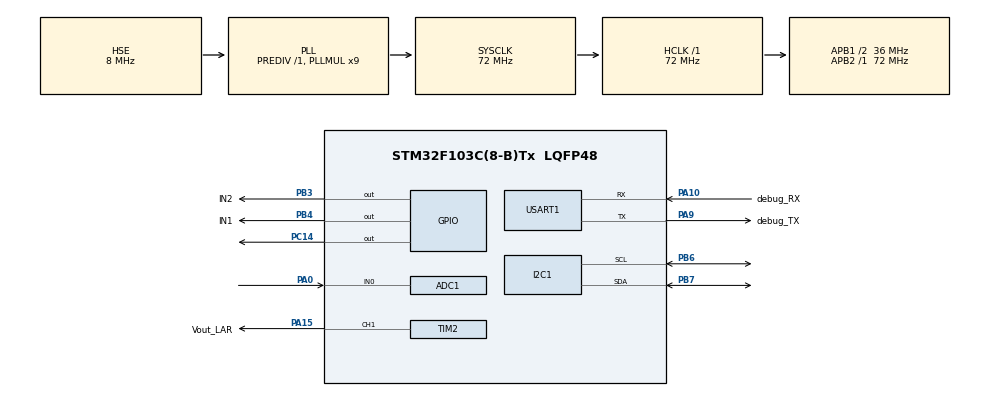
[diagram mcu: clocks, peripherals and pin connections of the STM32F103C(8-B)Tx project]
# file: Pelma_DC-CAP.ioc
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ADC1.Channel-0\#ChannelRegularConversion=ADC_CHANNEL_0
ADC1.ContinuousConvMode=ENABLE
ADC1.NbrOfConversionFlag=1
ADC1.Rank-0\#ChannelRegularConversion=1
ADC1.SamplingTime-0\#ChannelRegularConversion=ADC_SAMPLETIME_239CYCLES_5
ADC1.master=1
Mcu.Family=STM32F1
Mcu.Name=STM32F103C(8-B)Tx
Mcu.Package=LQFP48
NVIC.PriorityGroup=NVIC_PRIORITYGROUP_4
NVIC.TIM2_IRQn=true\:0\:0\:false\:false\:true\:true\:true\:true
NVIC.TIM3_IRQn=true\:0\:0\:false\:false\:true\:true\:true\:true
PA0-WKUP.Signal=ADCx_IN0
PA10.GPIO_Label=debug_RX
PA10.Mode=Asynchronous
PA10.Signal=USART1_RX
PA13.Mode=Serial_Wire
PA13.Signal=SYS_JTMS-SWDIO
PA14.Mode=Serial_Wire
PA14.Signal=SYS_JTCK-SWCLK
PA15.GPIO_Label=Vout_LAR
PA15.GPIO_Speed=GPIO_SPEED_FREQ_MEDIUM
PA15.Signal=S_TIM2_CH1_ETR
PA9.GPIO_Label=debug_TX
PA9.Mode=Asynchronous
PA9.Signal=USART1_TX
PB3.GPIO_Label=IN2
PB3.GPIO_Speed=GPIO_SPEED_FREQ_HIGH
PB3.Signal=GPIO_Output
PB4.GPIO_Label=IN1
PB4.GPIO_Speed=GPIO_SPEED_FREQ_HIGH
PB4.Signal=GPIO_Output
PB6.Mode=I2C
PB6.Signal=I2C1_SCL
PB7.Mode=I2C
PB7.Signal=I2C1_SDA
PC14-OSC32_IN.Signal=GPIO_Output
PD0-OSC_IN.Mode=HSE-External-Oscillator
PD0-OSC_IN.Signal=RCC_OSC_IN
PD1-OSC_OUT.Mode=HSE-External-Oscillator
PD1-OSC_OUT.Signal=RCC_OSC_OUT
ProjectManager.HeapSize=0x200
ProjectManager.StackSize=0x400
ProjectManager.TargetToolchain=CMake
RCC.ADCPresc=RCC_ADCPCLK2_DIV6
RCC.AHBFreq_Value=72000000
RCC.APB1CLKDivider=RCC_HCLK_DIV2
RCC.APB1Freq_Value=36000000
RCC.APB1TimFreq_Value=72000000
RCC.APB2Freq_Value=72000000
RCC.APB2TimFreq_Value=72000000
RCC.HCLKFreq_Value=72000000
RCC.PLLMUL=RCC_PLL_MUL9
RCC.PLLSourceVirtual=RCC_PLLSOURCE_HSE
RCC.SYSCLKFreq_VALUE=72000000
RCC.SYSCLKSource=RCC_SYSCLKSOURCE_PLLCLK
RCC.USBFreq_Value=72000000
SH.ADCx_IN0.0=ADC1_IN0,IN0
SH.S_TIM2_CH1_ETR.0=TIM2_CH1,PWM Generation1 CH1
TIM2.Channel-PWM\ Generation1\ CH1=TIM_CHANNEL_1
TIM2.Period=99
TIM2.Prescaler=71
TIM2.Pulse-PWM\ Generation1\ CH1=99
TIM3.Period=83
TIM3.Prescaler=7199
USART1.VirtualMode=VM_ASYNC
VP_TIM2_VS_ClockSourceINT.Mode=Internal
VP_TIM3_VS_ClockSourceINT.Mode=Internal
board=custom

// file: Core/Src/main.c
/* USER CODE BEGIN Header */
/**
  ******************************************************************************
  * @file           : main.c
  * @brief          : Main program body
  ******************************************************************************
  * @attention
  *
  * Copyright (c) 2025 STMicroelectronics.
  * All rights reserved.
  *
  * This software is licensed under terms that can be found in the LICENSE file
  * in the root directory of this software component.
  * If no LICENSE file comes with this software, it is provided AS-IS.
  *
  ******************************************************************************
  */
/* USER CODE END Header */
#include "main.h"
#include "adc.h"
#include "i2c.h"
#include "stm32f1xx_hal_adc.h"
#include "tim.h"
#include "usart.h"
#include "gpio.h"

/* USER CODE BEGIN Includes */

/* 引入 FDC2214 驱动接口与串口调试封装（用于 fdc_read_result_raw, fdc_calibrate_baseline, fdc_debug_print） */
#include "fdc2214.h"
#include "usart_debug.h"
/* TIM2/3 控制封装 */
#include "tim_control.h"
/* USER CODE END Includes */

/* USER CODE BEGIN PV */

/* TIM3 中断请求翻转标志 */
// static volatile uint8_t tim3_toggle_flag = 0;

/* 基线数组（每通道），在启动时可以通过 fdc_calibrate_baseline 填充或动态更新 */
// static uint32_t baseline[4] = {0, 0, 0, 0};
/* USER CODE END PV */

void SystemClock_Config(void);

int main(void)
{

  /* MCU Configuration--------------------------------------------------------*/

  /* Reset of all peripherals, Initializes the Flash interface and the Systick. */
  HAL_Init();

  /* Configure the system clock */
  SystemClock_Config();

  /* Initialize all configured peripherals */
  MX_GPIO_Init();
  MX_I2C1_Init();
  MX_USART1_UART_Init();
  MX_TIM2_Init();
  MX_TIM3_Init();
  MX_ADC1_Init();
  /* USER CODE BEGIN 2 */

  /* 1. 初始化串口接收以接收命令 */
  fdc_debug_init();  /* 这会启动串口中断接收 */

  // /* 2. 启动TIM2 PWM输出（占空比可通过串口设置）*/
  // TIM2_Control_Init();
  // TIM2_PWM_SetDutyPercent(90);  /* 设置默认占空比50% */                //改接收再振动################

  // /* 3. 启动TIM3并设置默认频率（20Hz）*/
  // HAL_TIM_Base_Start_IT(&htim3);  /* 启动定时器中断 */
  // TIM3_SetSquareFreqHz(100);       /* 设置默认频率 */

  fdc_debug_print("PWMPercent FreqHz");
  /* FDC2214 初始化（如果需要）*/
  {
    int r = fdc_init();
    if (r != FDC_OK) {
      /* 使用限频打印，避免初始化阶段反复打印导致串口占满 */
      fdc_debug_print_limited("fdc_init failed: %s (%d)\r\n", fdc_err_str(r), r);
    } else {
      fdc_debug_print("fdc_init OK\r\n");
    }
  }

  HAL_ADC_Start(&hadc1); //启动ADC1

  // /* 启动时对 4 个通道做基线校准（将结果写入上方定义的 baseline[] 数组）
  //  * 说明：如果不做校准，baseline 默认为 0（在头部已初始化为 0），
  //  *      那么 delta = raw - baseline 会等于 raw，本质上没有去偏移效果。
  //  * 这里使用  次采样取平均，必要时可调整 samples 的值。
  //  */
  // {
  //   const uint8_t samples = 100; /* 建议 8..64，根据噪声与时间权衡 */
  //   for (int ch = 0; ch < 4; ++ch) {
  //     int rc = fdc_calibrate_baseline((fdc_channel_t)ch, &baseline[ch], samples);
  //     if (rc != FDC_OK) {
  //       /* 校准失败时限频打印错误，避免串口刷屏 */
  //       fdc_debug_print_limited("calibrate CH%d failed: %s (%d)\r\n", ch, fdc_err_str(rc), rc);
  //     } else {
  //       /* 成功打印基线值一次（调试用），随后主循环会使用 baseline[] */
  //       fdc_debug_print("calibrate CH%d baseline=%lu\r\n", ch, (unsigned long)baseline[ch]);
  //     }
  //     /* 小延时，给总线和传感器一点恢复时间 */
  //     HAL_Delay(50);
  //   }
  // }

  /* USER CODE END 2 */

  /* Infinite loop */
  while (1)
  {

    /* USER CODE BEGIN 3 */

  // /* 处理由TIM3 Update 触发的安全翻转请求（带软件死区） */
  // TIM3_HandlePendingToggle();

     /* 2. FDC2214采样（如需要） */
  for (int ch = 0; ch < 4; ++ch) {
    /* 声明一个局部变量用于保存本次读取到的原始值（32-bit 容器）
     * 注意：FDC2214 的有效位可能高达 28 位，使用 32-bit 容器以免溢出
     */
    uint32_t raw = 0;

    /* 调用驱动函数读取指定通道的原始值
     * fdc_read_result_raw 会按手册要求先读取 DATA_CHx（MSB）再读取 DATA_LSB_CHx（LSB）
     * 返回 FDC_OK 表示读取成功；若返回错误码，则代表 I2C 通信或设备状态异常
     */
    if (fdc_read_result_raw((fdc_channel_t)ch, &raw) == FDC_OK) {
      /* 成功读取后：
       * 根据 datasheet 将 RAW(DATAx) 转换为振荡频率 f_sensor，再由已知电感 L 和并联电容 C0
       * 计算被测电容值（单位 F），这里演示使用 fref = 40 MHz, C0 = 20 pF。
       * 注意：L 必须由硬件线圈实际测量或由电路设计提供 -- 下面使用示例值 L = 1e-6 H （1 uH），请根据实际测量修改。
       */
      const double fref_hz = 40e6; /* 40 MHz */
      const double C0_f = 20e-12;  /* 20 pF */
      const double L_h = 18e-6;     /* 18 uH, 请根据实际线圈电感替换 */
      double fsensor = fdc_raw_to_freq(raw, fref_hz);
      double C_f = fdc_freq_to_capacitance(fsensor, L_h, C0_f);
      /* 将电容转换为 pF 便于阅读 */
      double C_pf = (C_f > 0.0) ? (C_f * 1e12) : -1.0;//三元条件运算符:条件表达式 ? 表达式1 : 表达式2;先判断「条件表达式」的真假，然后根据判断结果分别执行表达式1或表达式2。如果条件为真（非0），则返回表达式1的结果；否则，返回表达式2的结果。

      /* 打印通道、原始值、频率与电容（pF）。限频打印已在初始化时用于错误，主循环打印频率较低（每轮 50ms）。 */
      if (C_pf >= 0.0) {//printf 的浮点支持被禁用了（在 STM32 的 newlib/nano printf 默认不含 %f）
          uint32_t f_hz = (uint32_t)(fsensor + 0.5);           /* 四舍五入 整数 Hz */
          uint32_t C_milli_pf = (uint32_t)(C_pf + 0.5); /* 四舍五入 */
          fdc_debug_print("CH%d raw=%lu f=%luHz C=%lu m-pF\r\n",ch, (unsigned long)raw, (unsigned long)f_hz, (unsigned long)C_milli_pf);
      } else {
          fdc_debug_print("CH%d raw=%lu   f=%.1f Hz   C=ERR\r\n", ch, (unsigned long)raw, fsensor);
      }
    } else {
      /* 读取失败：打印错误信息（此处可改用限频打印以避免循环刷屏） */
      fdc_debug_print_limited("Read CH%d failed\r\n", ch);//  fdc_debug_print_limited("PWMPercent FreqHz_limit");
    }

    /* 在读取通道之间加入短延时：
     * - 避免 I2C 总线上的紧凑访问导致从机忙或总线争用
     * - 给被测电路/传感器一点时间稳定（视测量速率与硬件而定可调整）//调###############
     */
    HAL_Delay(5);
  }

  HAL_ADC_PollForConversion(&hadc1, 100);
  uint32_t adcValue = HAL_ADC_GetValue(&hadc1);
  float voltage = (adcValue / 4095.0f) * 3.3f; // Assuming a 3.3V reference voltage
  float test_value = 0.666666666;
  fdc_debug_print("test: %1.2f\r\n", test_value);
  fdc_debug_print("ADC1 Value: %1.2f\r\n", voltage);

  // /* 先处理串口命令（如果有），把命令放在主循环处理，避免在ISR中调用HAL函数 */
  // {
  //   char cmd[32];
  //   if (fdc_debug_get_command(cmd, sizeof(cmd))) {
  //     /* 由主循环调用命令处理，安全执行TIM相关的HAL操作 */
  //     HandleTIM3Command(cmd);
  //   }
  // }

  // /* 诊断：如果用户在串口发送了字符但没有看到回显，
  //  * 可以通过 RX 事件计数确认中断是否触发。
  //  * 这里每轮读取并清零计数，若 >0 则打印一次（不会太频繁）。
  //  */
  // {
  //   int rxev = fdc_debug_get_rx_events();
  //   if (rxev>0) {
  //     fdc_debug_print("RX events=%d\r\n", rxev);
  //   }
  // }

  // /* 在一轮四通道读取完成后再等待较长的周期，控制总体采样率 */
  HAL_Delay(50);
  }
  /* USER CODE END 3 */
}

void SystemClock_Config(void)
{
  RCC_OscInitTypeDef RCC_OscInitStruct = {0};
  RCC_ClkInitTypeDef RCC_ClkInitStruct = {0};
  RCC_PeriphCLKInitTypeDef PeriphClkInit = {0};

  /** Initializes the RCC Oscillators according to the specified parameters
  * in the RCC_OscInitTypeDef structure.
  */
  RCC_OscInitStruct.OscillatorType = RCC_OSCILLATORTYPE_HSE;
  RCC_OscInitStruct.HSEState = RCC_HSE_ON;
  RCC_OscInitStruct.HSEPredivValue = RCC_HSE_PREDIV_DIV1;
  RCC_OscInitStruct.HSIState = RCC_HSI_ON;
  RCC_OscInitStruct.PLL.PLLState = RCC_PLL_ON;
  RCC_OscInitStruct.PLL.PLLSource = RCC_PLLSOURCE_HSE;
  RCC_OscInitStruct.PLL.PLLMUL = RCC_PLL_MUL9;
  if (HAL_RCC_OscConfig(&RCC_OscInitStruct) != HAL_OK)
  {
    Error_Handler();
  }

  /** Initializes the CPU, AHB and APB buses clocks
  */
  RCC_ClkInitStruct.ClockType = RCC_CLOCKTYPE_HCLK|RCC_CLOCKTYPE_SYSCLK
                              |RCC_CLOCKTYPE_PCLK1|RCC_CLOCKTYPE_PCLK2;
  RCC_ClkInitStruct.SYSCLKSource = RCC_SYSCLKSOURCE_PLLCLK;
  RCC_ClkInitStruct.AHBCLKDivider = RCC_SYSCLK_DIV1;
  RCC_ClkInitStruct.APB1CLKDivider = RCC_HCLK_DIV2;
  RCC_ClkInitStruct.APB2CLKDivider = RCC_HCLK_DIV1;

  if (HAL_RCC_ClockConfig(&RCC_ClkInitStruct, FLASH_LATENCY_2) != HAL_OK)
  {
    Error_Handler();
  }
  PeriphClkInit.PeriphClockSelection = RCC_PERIPHCLK_ADC;
  PeriphClkInit.AdcClockSelection = RCC_ADCPCLK2_DIV6;
  if (HAL_RCCEx_PeriphCLKConfig(&PeriphClkInit) != HAL_OK)
  {
    Error_Handler();
  }
}

/* USER CODE BEGIN 4 */
// /* OC 中断回调：不要在回调中直接做耗时操作，改为设置请求标志，由主循环处理（以便做死区延时） */
// void HAL_TIM_OC_DelayElapsedCallback(TIM_HandleTypeDef *htim){
//   if (htim->Instance == TIM2 && htim->Channel == HAL_TIM_ACTIVE_CHANNEL_2) {
//     /* 设置方向切换请求标志，主循环会调用 TIM2_HandlePendingToggle() 做安全切换 */
//     tim2_request_toggle_flag = 1;
//   }
// }

/* 基本更新中断回调：用于 TIM3 的半周期计时（在 MX_TIM3_Init 中启用了 Update IRQ）
 * 我们在这里设置同样的请求标志，由主循环执行带死区的翻转处理。
 */
/* TIM3更新中断回调：请求翻转IN1/IN2（在主循环中执行带死区保护的翻转）*/
void HAL_TIM_PeriodElapsedCallback(TIM_HandleTypeDef *htim){
  if (htim->Instance == TIM3) {
    tim3_toggle_flag = 1;  /* TIM3_HandlePendingToggle处理 */
  }
}
/* USER CODE END 4 */

void Error_Handler(void)
{
  __disable_irq();
  while (1)
  {
  }
}
